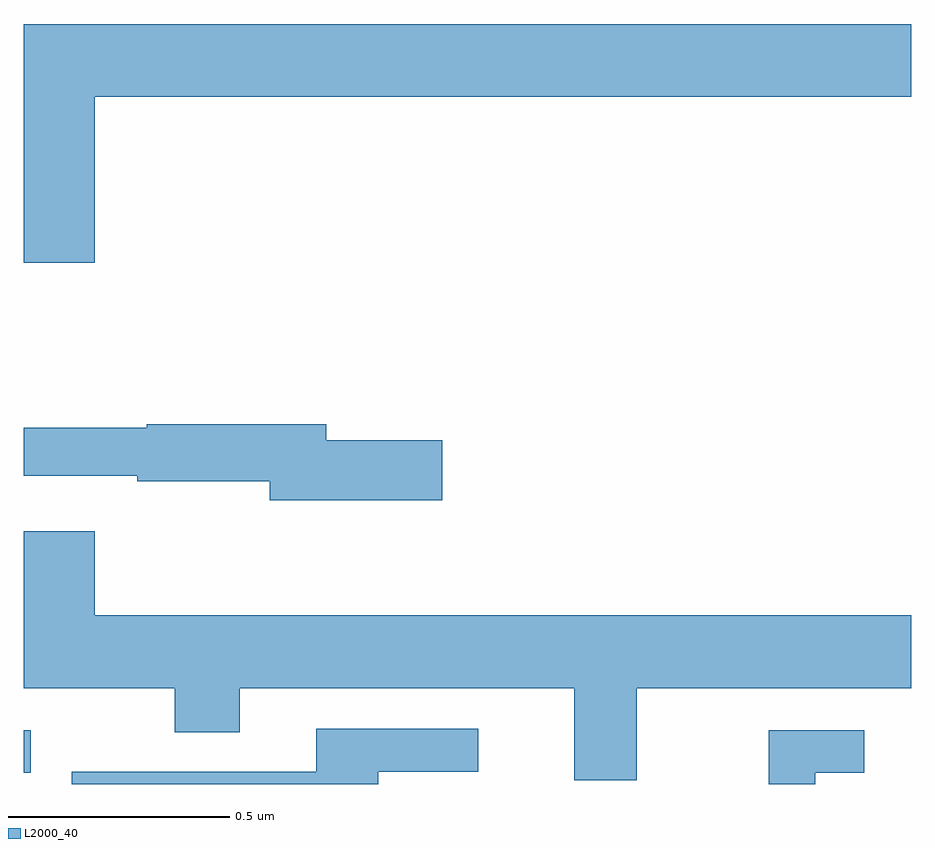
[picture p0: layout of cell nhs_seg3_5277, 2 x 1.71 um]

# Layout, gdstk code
import gdstk
lib = gdstk.Library(unit=1e-6, precision=1e-09)
def R(c, l, rs):  # rectangles x0, y0, x1, y1
    for r in rs: c.add(gdstk.rectangle(r[:2], r[2:], *l))
def P(c, l, *ps):  # polygons
    for p in ps: c.add(gdstk.Polygon(p, *l))
L2000_40 = (2000, 40)

nhs_seg3_5277 = lib.new_cell('nhs_seg3_5277')
R(nhs_seg3_5277, L2000_40, [(177,667.425,177.016,667.521)])
P(nhs_seg3_5277, L2000_40, [(177.16,668.948),(179,668.948),(179,669.112),(177,669.112),(177,668.574),(177.16,668.574)],
  [(177.943,668.174),(177.682,668.174),(177.682,668.21),(177.278,668.21),(177.278,668.203),(177,668.203),(177,668.094),(177.256,668.094),(177.256,668.082),(177.554,668.082),(177.554,668.039),(177.943,668.039)],
  [(178.381,667.616),(179,667.616),(179,667.78),(177.16,667.78),(177.16,667.969),(177,667.969),(177,667.616),(177.34,667.616),(177.34,667.517),(177.487,667.517),(177.487,667.616),(178.241,667.616),(178.241,667.408),(178.381,667.408)],
  [(177.799,667.428),(178.024,667.428),(178.024,667.524),(177.659,667.524),(177.659,667.428),(177.108,667.428),(177.108,667.4),(177.799,667.4)],
  [(178.783,667.425),(178.894,667.425),(178.894,667.521),(178.679,667.521),(178.679,667.4),(178.783,667.4)])

lib.write_gds('nhs_seg3_5277.gds')
